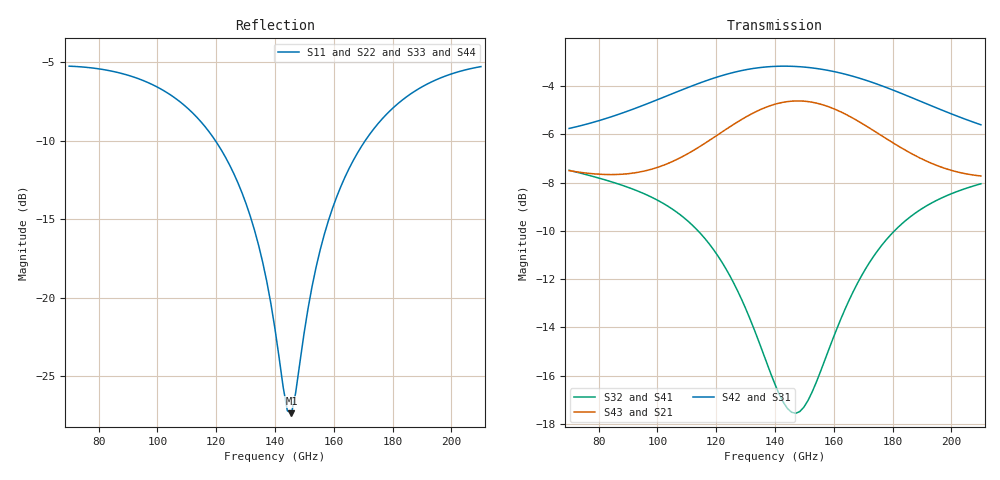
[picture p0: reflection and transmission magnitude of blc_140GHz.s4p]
#  GHZ S DB R 50
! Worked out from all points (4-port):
!   101 points, 70 GHz to 210 GHz, reference 50 ohm
!   strongest paths, dB at 70 GHz, 105 GHz, 140 GHz, 175 GHz, 210 GHz:
!     S42: -5.8, -4.3, -3.2, -3.9, -5.6
!     S31: -5.8, -4.3, -3.2, -3.9, -5.6
!     S43: -7.5, -7.1, -4.8, -6.0, -7.7
!     S21: -7.5, -7.1, -4.8, -6.0, -7.7
!     S32: -7.5, -9.1, -16.4, -10.8, -8.1
!     S41: -7.5, -9.1, -16.4, -10.8, -8.0
!   lowest |S11| = -27.4 dB at 145.6 GHz (marker M1), VSWR 1.09, Z = 54.3 - j1.33 ohm
!   |S11| at or under -10 dB: 119.8 GHz to 170.6 GHz (50.86 GHz wide, 35 % of centre)
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70  -5.24 158.3  -7.51 -48.3  -5.76 -79.6  -7.50 -62.2
    -7.51 -48.3  -5.24 158.3  -7.49 -62.2  -5.76 -79.6
    -5.76 -79.6  -7.49 -62.2  -5.24 158.3  -7.51 -48.3
    -7.50 -62.2  -5.76 -79.6  -7.51 -48.3  -5.24 158.3
120.4  -10.18 107.7  -6.04 -69.8  -3.63 -145.0  -11.03 -110.3
       -6.04 -69.8  -10.18 107.9  -11.01 -110.3  -3.63 -145.0
       -3.63 -145.0  -11.01 -110.3  -10.19 107.9  -6.04 -69.8
       -11.03 -110.3  -3.63 -145.0  -6.04 -69.8  -10.16 107.8
133  -15.67 84.7  -5.10 -81.5  -3.27 -165.1  -14.14 -117.3
     -5.10 -81.5  -15.68 85.0  -14.11 -117.3  -3.27 -165.1
     -3.27 -165.1  -14.11 -117.3  -15.71 84.9  -5.10 -81.5
     -14.14 -117.3  -3.27 -165.1  -5.10 -81.5  -15.64 84.9
145.6  -27.36 -16.6  -4.63 -96.6  -3.18 174.1  -17.54 -98.4
       -4.63 -96.6  -27.47 -16.7  -17.52 -98.7  -3.19 174.2
       -3.18 174.1  -17.52 -98.7  -27.48 -17.7  -4.63 -96.6
       -17.54 -98.4  -3.19 174.2  -4.63 -96.6  -27.42 -15.6
155.4  -16.92 -91.5  -4.75 -108.9  -3.30 158.1  -15.84 -75.9
       -4.75 -108.9  -16.92 -91.7  -15.85 -76.2  -3.30 158.2
       -3.30 158.1  -15.85 -76.2  -16.89 -91.9  -4.75 -108.9
       -15.84 -75.9  -3.30 158.2  -4.75 -108.9  -16.97 -91.5
166.6  -11.25 -113.5  -5.34 -121.4  -3.61 140.3  -12.50 -74.5
       -5.34 -121.4  -11.25 -113.5  -12.52 -74.7  -3.60 140.3
       -3.61 140.3  -12.52 -74.7  -11.23 -113.6  -5.34 -121.4
       -12.50 -74.5  -3.60 140.3  -5.34 -121.4  -11.28 -113.5
210  -5.27 -160.9  -7.74 -145.9  -5.61 81.1  -8.03 -116.1
     -7.74 -145.9  -5.26 -160.9  -8.05 -116.1  -5.61 81.2
     -5.61 81.1  -8.05 -116.1  -5.26 -161.0  -7.73 -145.9
     -8.03 -116.1  -5.61 81.2  -7.73 -145.9  -5.28 -161.0
